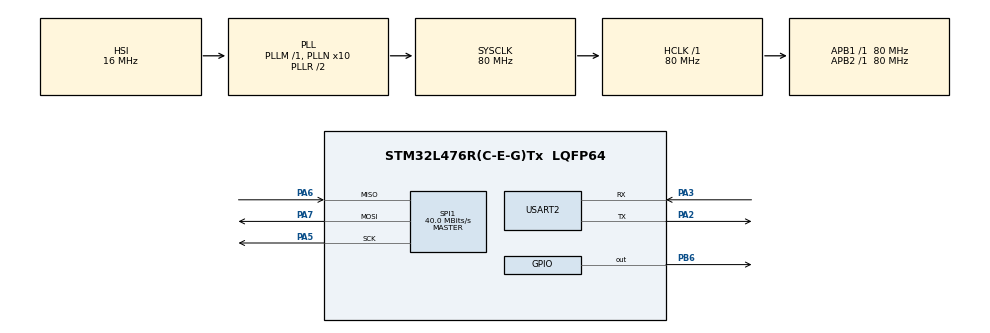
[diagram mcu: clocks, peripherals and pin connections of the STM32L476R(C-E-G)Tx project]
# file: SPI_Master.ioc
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Mcu.Family=STM32L4
Mcu.Name=STM32L476R(C-E-G)Tx
Mcu.Package=LQFP64
NVIC.PriorityGroup=NVIC_PRIORITYGROUP_4
PA2.Mode=Asynchronous
PA2.Signal=USART2_TX
PA3.Mode=Asynchronous
PA3.Signal=USART2_RX
PA5.Mode=Full_Duplex_Master
PA5.Signal=SPI1_SCK
PA6.Mode=Full_Duplex_Master
PA6.Signal=SPI1_MISO
PA7.Mode=Full_Duplex_Master
PA7.Signal=SPI1_MOSI
PB6.Signal=GPIO_Output
PH0-OSC_IN\ (PH0).Mode=HSE-External-Oscillator
PH0-OSC_IN\ (PH0).Signal=RCC_OSC_IN
PH1-OSC_OUT\ (PH1).Mode=HSE-External-Oscillator
PH1-OSC_OUT\ (PH1).Signal=RCC_OSC_OUT
ProjectManager.HeapSize=0x200
ProjectManager.StackSize=0x400
ProjectManager.TargetToolchain=STM32CubeIDE
RCC.ADCFreq_Value=64000000
RCC.AHBFreq_Value=80000000
RCC.APB1Freq_Value=80000000
RCC.APB1TimFreq_Value=80000000
RCC.APB2Freq_Value=80000000
RCC.APB2TimFreq_Value=80000000
RCC.CortexFreq_Value=80000000
RCC.HCLKFreq_Value=80000000
RCC.HSE_VALUE=8000000
RCC.HSI_VALUE=16000000
RCC.MSI_VALUE=4000000
RCC.PLLN=10
RCC.PLLSourceVirtual=RCC_PLLSOURCE_HSI
RCC.PREFETCH_ENABLE=1
RCC.SYSCLKFreq_VALUE=80000000
RCC.SYSCLKSource=RCC_SYSCLKSOURCE_PLLCLK
RCC.USBFreq_Value=64000000
RCC.VCOOutputFreq_Value=160000000
SPI1.CalculateBaudRate=40.0 MBits/s
SPI1.Direction=SPI_DIRECTION_2LINES
SPI1.Mode=SPI_MODE_MASTER
SPI1.VirtualType=VM_MASTER
USART2.VirtualMode-Asynchronous=VM_ASYNC
board=NUCLEO-L476RG

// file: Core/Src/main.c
/* USER CODE BEGIN Header */
/**
  ******************************************************************************
  * @file           : main.c
  * @brief          : SPI Master Code - Transmits "hi" and reads echo response
  ******************************************************************************
  */
/* USER CODE END Header */
#include "main.h"

SPI_HandleTypeDef hspi1;

UART_HandleTypeDef huart2;

void SystemClock_Config(void);
static void MX_GPIO_Init(void);
static void MX_SPI1_Init(void);
static void MX_USART2_UART_Init(void);

int main(void)
{

  /* MCU Configuration--------------------------------------------------------*/

  /* Reset of all peripherals, Initializes the Flash interface and the Systick. */
  HAL_Init();

  /* Configure the system clock */
  SystemClock_Config();

  /* Initialize all configured peripherals */
  MX_GPIO_Init();
  MX_SPI1_Init();
  MX_USART2_UART_Init();
  /* USER CODE BEGIN 2 */
  char master_tx[] = "hi";
  char master_rx[3] = {0}; // Buffer to catch the returned echo
  char uart_buf[100];
  int len;

  len = sprintf(uart_buf, "--- SPI Master System Initialized ---\r\n");
  HAL_UART_Transmit(&huart2, (uint8_t*)uart_buf, len, HAL_MAX_DELAY);
  /* USER CODE END 2 */

  /* Infinite loop */
  /* USER CODE BEGIN WHILE */
  while (1)
  {
    // Clear receive buffer
    memset(master_rx, 0, sizeof(master_rx));

    // 1. Pull Chip Select LOW to select the Slave
    HAL_GPIO_WritePin(GPIOB, GPIO_PIN_6, GPIO_PIN_RESET);
    HAL_Delay(1); // Small settling delay

    // 2. Transmit "hi" and simultaneously receive the echo payload
    // We send 2 bytes ('h' and 'i')
    if (HAL_SPI_TransmitReceive(&hspi1, (uint8_t*)master_tx, (uint8_t*)master_rx, 2, HAL_MAX_DELAY) == HAL_OK)
    {
        // 3. Bring Chip Select HIGH to release the bus
        HAL_GPIO_WritePin(GPIOB, GPIO_PIN_6, GPIO_PIN_SET);

        // 4. Output what we got back to PuTTY
        len = sprintf(uart_buf, "Master Sent: %s | Master Received Echo: %s\r\n", master_tx, master_rx);
        HAL_UART_Transmit(&huart2, (uint8_t*)uart_buf, len, HAL_MAX_DELAY);
    }
    else
    {
        HAL_GPIO_WritePin(GPIOB, GPIO_PIN_6, GPIO_PIN_SET);
        len = sprintf(uart_buf, "SPI Error Occurred\r\n");
        HAL_UART_Transmit(&huart2, (uint8_t*)uart_buf, len, HAL_MAX_DELAY);
    }

    HAL_Delay(2000); // Send data every 2 seconds
    /* USER CODE END WHILE */

  }
}

void SystemClock_Config(void)
{
  RCC_OscInitTypeDef RCC_OscInitStruct = {0};
  RCC_ClkInitTypeDef RCC_ClkInitStruct = {0};

  /** Configure the main internal regulator output voltage
  */
  if (HAL_PWREx_ControlVoltageScaling(PWR_REGULATOR_VOLTAGE_SCALE1) != HAL_OK)
  {
    Error_Handler();
  }

  /** Initializes the RCC Oscillators according to the specified parameters
  * in the RCC_OscInitTypeDef structure.
  */
  RCC_OscInitStruct.OscillatorType = RCC_OSCILLATORTYPE_HSI;
  RCC_OscInitStruct.HSIState = RCC_HSI_ON;
  RCC_OscInitStruct.HSICalibrationValue = RCC_HSICALIBRATION_DEFAULT;
  RCC_OscInitStruct.PLL.PLLState = RCC_PLL_ON;
  RCC_OscInitStruct.PLL.PLLSource = RCC_PLLSOURCE_HSI;
  RCC_OscInitStruct.PLL.PLLM = 1;
  RCC_OscInitStruct.PLL.PLLN = 10;
  RCC_OscInitStruct.PLL.PLLP = RCC_PLLP_DIV7;
  RCC_OscInitStruct.PLL.PLLQ = RCC_PLLQ_DIV2;
  RCC_OscInitStruct.PLL.PLLR = RCC_PLLR_DIV2;
  if (HAL_RCC_OscConfig(&RCC_OscInitStruct) != HAL_OK)
  {
    Error_Handler();
  }

  /** Initializes the CPU, AHB and APB buses clocks
  */
  RCC_ClkInitStruct.ClockType = RCC_CLOCKTYPE_HCLK|RCC_CLOCKTYPE_SYSCLK
                              |RCC_CLOCKTYPE_PCLK1|RCC_CLOCKTYPE_PCLK2;
  RCC_ClkInitStruct.SYSCLKSource = RCC_SYSCLKSOURCE_PLLCLK;
  RCC_ClkInitStruct.AHBCLKDivider = RCC_SYSCLK_DIV1;
  RCC_ClkInitStruct.APB1CLKDivider = RCC_HCLK_DIV1;
  RCC_ClkInitStruct.APB2CLKDivider = RCC_HCLK_DIV1;

  if (HAL_RCC_ClockConfig(&RCC_ClkInitStruct, FLASH_LATENCY_4) != HAL_OK)
  {
    Error_Handler();
  }
}

static void MX_SPI1_Init(void)
{

  /* SPI1 parameter configuration*/
  hspi1.Instance = SPI1;
  hspi1.Init.Mode = SPI_MODE_MASTER;
  hspi1.Init.Direction = SPI_DIRECTION_2LINES;
  hspi1.Init.DataSize = SPI_DATASIZE_4BIT;
  hspi1.Init.CLKPolarity = SPI_POLARITY_LOW;
  hspi1.Init.CLKPhase = SPI_PHASE_1EDGE;
  hspi1.Init.NSS = SPI_NSS_SOFT;
  hspi1.Init.BaudRatePrescaler = SPI_BAUDRATEPRESCALER_2;
  hspi1.Init.FirstBit = SPI_FIRSTBIT_MSB;
  hspi1.Init.TIMode = SPI_TIMODE_DISABLE;
  hspi1.Init.CRCCalculation = SPI_CRCCALCULATION_DISABLE;
  hspi1.Init.CRCPolynomial = 7;
  hspi1.Init.CRCLength = SPI_CRC_LENGTH_DATASIZE;
  hspi1.Init.NSSPMode = SPI_NSS_PULSE_ENABLE;
  if (HAL_SPI_Init(&hspi1) != HAL_OK)
  {
    Error_Handler();
  }

}

static void MX_USART2_UART_Init(void)
{

  huart2.Instance = USART2;
  huart2.Init.BaudRate = 115200;
  huart2.Init.WordLength = UART_WORDLENGTH_8B;
  huart2.Init.StopBits = UART_STOPBITS_1;
  huart2.Init.Parity = UART_PARITY_NONE;
  huart2.Init.Mode = UART_MODE_TX_RX;
  huart2.Init.HwFlowCtl = UART_HWCONTROL_NONE;
  huart2.Init.OverSampling = UART_OVERSAMPLING_16;
  huart2.Init.OneBitSampling = UART_ONE_BIT_SAMPLE_DISABLE;
  huart2.AdvancedInit.AdvFeatureInit = UART_ADVFEATURE_NO_INIT;
  if (HAL_UART_Init(&huart2) != HAL_OK)
  {
    Error_Handler();
  }

}

static void MX_GPIO_Init(void)
{
  GPIO_InitTypeDef GPIO_InitStruct = {0};

  /* GPIO Ports Clock Enable */
  __HAL_RCC_GPIOH_CLK_ENABLE();
  __HAL_RCC_GPIOA_CLK_ENABLE();
  __HAL_RCC_GPIOB_CLK_ENABLE();

  /*Configure GPIO pin Output Level */
  HAL_GPIO_WritePin(GPIOB, GPIO_PIN_6, GPIO_PIN_RESET);

  /*Configure GPIO pin : PB6 */
  GPIO_InitStruct.Pin = GPIO_PIN_6;
  GPIO_InitStruct.Mode = GPIO_MODE_OUTPUT_PP;
  GPIO_InitStruct.Pull = GPIO_NOPULL;
  GPIO_InitStruct.Speed = GPIO_SPEED_FREQ_LOW;
  HAL_GPIO_Init(GPIOB, &GPIO_InitStruct);

}

void Error_Handler(void)
{
  __disable_irq();
  while (1)
  {
  }
}
